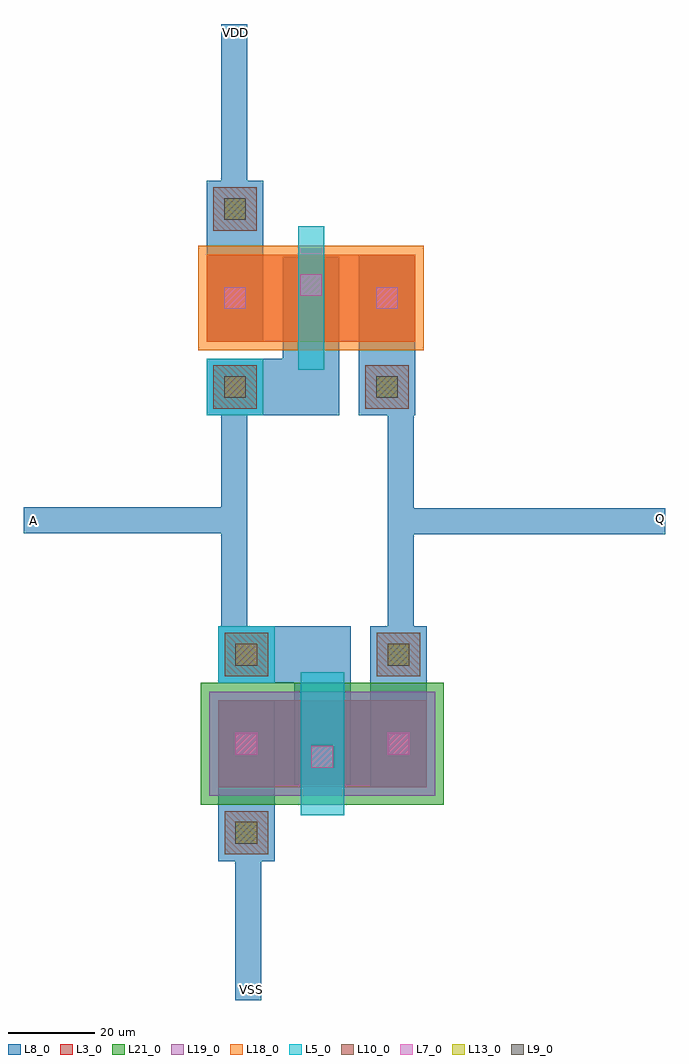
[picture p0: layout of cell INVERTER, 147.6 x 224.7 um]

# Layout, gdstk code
import gdstk
lib = gdstk.Library(unit=1e-6, precision=1e-07)
def R(c, l, rs):  # rectangles x0, y0, x1, y1
    for r in rs: c.add(gdstk.rectangle(r[:2], r[2:], *l))
L3_0 = (3, 0)
L5_0 = (5, 0)
L7_0 = (7, 0)
L8_0 = (8, 0)
L9_0 = (9, 0)
L10_0 = (10, 0)
L13_0 = (13, 0)
L18_0 = (18, 0)
L19_0 = (19, 0)
L21_0 = (21, 0)

dcont = lib.new_cell('dcont')
R(dcont, L3_0, [(-6.5,-6.5,6.5,6.5)])
R(dcont, L7_0, [(-2.5,-2.5,2.5,2.5)])
R(dcont, L8_0, [(-6.5,-6.5,6.5,6.5)])

pcont = lib.new_cell('pcont')
R(pcont, L5_0, [(-6.5,-6.5,6.5,6.5)])
R(pcont, L7_0, [(-2.5,-2.5,2.5,2.5)])
R(pcont, L8_0, [(-6.5,-6.5,6.5,6.5)])
R(pcont, L13_0, [(-2.5,-2.5,2.5,2.5)])

via = lib.new_cell('Via')
R(via, L8_0, [(-6.5,-6.5,6.5,6.5)])
R(via, L9_0, [(-2.5,-2.5,2.5,2.5)])
R(via, L10_0, [(-5,-5,5,5)])
R(via, L13_0, [(-2.5,-2.5,2.5,2.5)])

nch = lib.new_cell('Nch')
R(nch, L3_0, [(0,17,48,37)])
R(nch, L19_0, [(-2,15,50,39)])
R(nch, L21_0, [(-4,13,52,41)])
nch.add(gdstk.FlexPath([(24,17),(24,37)], 10, ends=(6.5, 6.5), simple_path=True, layer=5, datatype=0))  # L5_0
nch.add(gdstk.FlexPath([(6.5,17),(6.5,37)], 13, ends="flush", simple_path=True, layer=8, datatype=0))  # L8_0
nch.add(gdstk.FlexPath([(41.5,17),(41.5,37)], 13, ends="flush", simple_path=True, layer=8, datatype=0))  # L8_0
nch.add(gdstk.FlexPath([(6.5,47.5),(24,47.5),(24,43.5)], 13, ends="flush", simple_path=True, layer=8, datatype=0))  # L8_0
nch.add(gdstk.FlexPath([(6.5,6.5),(6.5,21)], 13, ends="flush", simple_path=True, layer=8, datatype=0))  # L8_0
nch.add(gdstk.FlexPath([(24,17.5),(24,47.5)], 13, ends="flush", simple_path=True, layer=8, datatype=0))  # L8_0
nch.add(gdstk.FlexPath([(41.5,33),(41.5,46.5)], 13, ends="flush", simple_path=True, layer=8, datatype=0))  # L8_0
nch.add(gdstk.Reference(dcont, (6.5,27)))
nch.add(gdstk.Reference(dcont, (41.5,27)))
nch.add(gdstk.Reference(pcont, (6.5,47.5)))
nch.add(gdstk.Reference(via, (6.5,47.5)))
nch.add(gdstk.Reference(via, (6.5,6.5)))
nch.add(gdstk.Reference(dcont, (24,24)))
nch.add(gdstk.Reference(via, (41.5,47.5)))

pch_2 = lib.new_cell('Pch$2')
R(pch_2, L3_0, [(0,17,48,37)])
R(pch_2, L18_0, [(-2,15,50,39)])
pch_2.add(gdstk.FlexPath([(24,17),(24,37)], 6, ends=(6.5, 6.5), simple_path=True, layer=5, datatype=0))  # L5_0
pch_2.add(gdstk.FlexPath([(6.5,17),(6.5,37)], 13, ends="flush", simple_path=True, layer=8, datatype=0))  # L8_0
pch_2.add(gdstk.FlexPath([(41.5,17),(41.5,37)], 13, ends="flush", simple_path=True, layer=8, datatype=0))  # L8_0
pch_2.add(gdstk.FlexPath([(6.5,6.5),(24,6.5),(24,10.5)], 13, ends="flush", simple_path=True, layer=8, datatype=0))  # L8_0
pch_2.add(gdstk.FlexPath([(6.5,33),(6.5,47.5)], 13, ends="flush", simple_path=True, layer=8, datatype=0))  # L8_0
pch_2.add(gdstk.FlexPath([(24,6.5),(24,36.5)], 13, ends="flush", simple_path=True, layer=8, datatype=0))  # L8_0
pch_2.add(gdstk.FlexPath([(41.5,9),(41.5,21)], 13, ends="flush", simple_path=True, layer=8, datatype=0))  # L8_0
pch_2.add(gdstk.Reference(dcont, (6.5,27)))
pch_2.add(gdstk.Reference(dcont, (41.5,27)))
pch_2.add(gdstk.Reference(pcont, (6.5,6.5)))
pch_2.add(gdstk.Reference(via, (6.5,6.5)))
pch_2.add(gdstk.Reference(via, (6.5,47.5)))
pch_2.add(gdstk.Reference(dcont, (24,30)))
pch_2.add(gdstk.Reference(via, (41.5,6.5)))

inverter = lib.new_cell('INVERTER')
inverter.add(gdstk.FlexPath([(18.5,116.1),(18.5,55.9),(20,55.9)], 6, ends="flush", simple_path=True, layer=8, datatype=0))  # L8_0
inverter.add(gdstk.FlexPath([(53.3,116.7),(56.8,116.7),(56.8,52.8)], 6, ends="flush", simple_path=True, layer=8, datatype=0))  # L8_0
inverter.add(gdstk.FlexPath([(56.3,85.6),(117.7,85.6)], 6, ends="flush", simple_path=True, layer=8, datatype=0))  # L8_0
inverter.add(gdstk.FlexPath([(18.5,85.9),(-29.9,85.9)], 6, ends="flush", simple_path=True, layer=8, datatype=0))  # L8_0
inverter.add(gdstk.FlexPath([(21.7,13.5),(21.7,-24.6)], 6, ends="flush", simple_path=True, layer=8, datatype=0))  # L8_0
inverter.add(gdstk.FlexPath([(18.5,157.9),(18.5,200.1)], 6, ends="flush", simple_path=True, layer=8, datatype=0))  # L8_0
inverter.add(gdstk.Reference(nch, (14.8,7.4)))
inverter.add(gdstk.Reference(pch_2, (12.2,110)))
inverter.add(gdstk.Label('Q', (116.7,86.2), layer=8, texttype=0))
inverter.add(gdstk.Label('VDD', (18.7,198.1), layer=8, texttype=0))
inverter.add(gdstk.Label('A', (-27.8,85.9), layer=8, texttype=0))
inverter.add(gdstk.Label('VSS', (22.4,-22.1), layer=8, texttype=0))

lib.write_gds('INVERTER.gds')
